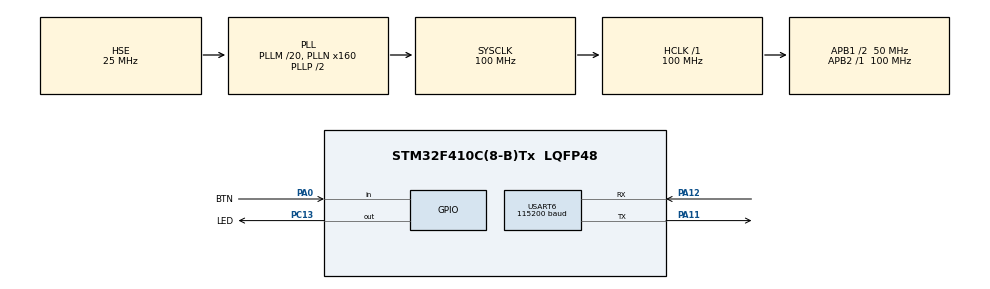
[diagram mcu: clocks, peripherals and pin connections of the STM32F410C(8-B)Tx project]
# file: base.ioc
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Dma.Request0=USART6_TX
Dma.USART6_TX.0.Direction=DMA_MEMORY_TO_PERIPH
Dma.USART6_TX.0.FIFOMode=DMA_FIFOMODE_DISABLE
Dma.USART6_TX.0.Instance=DMA2_Stream6
Dma.USART6_TX.0.MemDataAlignment=DMA_MDATAALIGN_BYTE
Dma.USART6_TX.0.MemInc=DMA_MINC_ENABLE
Dma.USART6_TX.0.Mode=DMA_NORMAL
Dma.USART6_TX.0.PeriphDataAlignment=DMA_PDATAALIGN_BYTE
Dma.USART6_TX.0.PeriphInc=DMA_PINC_DISABLE
Dma.USART6_TX.0.Priority=DMA_PRIORITY_LOW
Mcu.Family=STM32F4
Mcu.Name=STM32F410C(8-B)Tx
Mcu.Package=LQFP48
NVIC.DMA2_Stream6_IRQn=true\:1\:0\:true\:false\:true\:false\:true\:true
NVIC.PriorityGroup=NVIC_PRIORITYGROUP_4
NVIC.TIM1_TRG_COM_TIM11_IRQn=true\:0\:0\:false\:false\:true\:true\:true\:true
NVIC.USART6_IRQn=true\:1\:0\:true\:false\:true\:true\:true\:true
PA0-WKUP.GPIO_Label=BTN
PA0-WKUP.Signal=GPIO_Input
PA11.Mode=Asynchronous
PA11.Signal=USART6_TX
PA12.Mode=Asynchronous
PA12.Signal=USART6_RX
PA13.Mode=Serial_Wire
PA13.Signal=SYS_JTMS-SWDIO
PA14.Mode=Serial_Wire
PA14.Signal=SYS_JTCK-SWCLK
PC13-ANTI_TAMP.GPIO_Label=LED
PC13-ANTI_TAMP.Signal=GPIO_Output
PH0\ -\ OSC_IN.Mode=HSE-External-Oscillator
PH0\ -\ OSC_IN.Signal=RCC_OSC_IN
PH1\ -\ OSC_OUT.Mode=HSE-External-Oscillator
PH1\ -\ OSC_OUT.Signal=RCC_OSC_OUT
ProjectManager.HeapSize=0x200
ProjectManager.StackSize=0x400
ProjectManager.TargetToolchain=STM32CubeIDE
RCC.48MHZClocksFreq_Value=50000000
RCC.AHBFreq_Value=100000000
RCC.APB1CLKDivider=RCC_HCLK_DIV2
RCC.APB1Freq_Value=50000000
RCC.APB1TimFreq_Value=100000000
RCC.APB2Freq_Value=100000000
RCC.APB2TimFreq_Value=100000000
RCC.CortexFreq_Value=100000000
RCC.FLatency=FLASH_LATENCY_3
RCC.HCLKFreq_Value=100000000
RCC.HSE_VALUE=25000000
RCC.HSI_VALUE=16000000
RCC.LSE_VALUE=32768
RCC.PLLM=20
RCC.PLLN=160
RCC.PLLSourceVirtual=RCC_PLLSOURCE_HSE
RCC.SYSCLKFreq_VALUE=100000000
RCC.SYSCLKSource=RCC_SYSCLKSOURCE_PLLCLK
RCC.VCOOutputFreq_Value=200000000
TIM11.Period=5000-1
TIM11.Prescaler=100-1
USART6.BaudRate=115200
USART6.Mode=MODE_TX_RX
USART6.OverSampling=UART_OVERSAMPLING_16
USART6.Parity=PARITY_NONE
USART6.StopBits=STOPBITS_1
USART6.VirtualMode=VM_ASYNC
USART6.WordLength=WORDLENGTH_8B
VP_TIM11_VS_ClockSourceINT.Mode=Enable_Timer
board=custom

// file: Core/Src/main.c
/* USER CODE BEGIN Header */
/**
  ******************************************************************************
  * @file           : main.c
  * @brief          : Main program body
  ******************************************************************************
  * @attention
  *
  * Copyright (c) 2023 STMicroelectronics.
  * All rights reserved.
  *
  * This software is licensed under terms that can be found in the LICENSE file
  * in the root directory of this software component.
  * If no LICENSE file comes with this software, it is provided AS-IS.
  *
  ******************************************************************************
  */
/* USER CODE END Header */
#include "main.h"
#include "dma.h"
#include "tim.h"
#include "usart.h"
#include "gpio.h"

/* USER CODE BEGIN Includes */
#include "elog.h"
#include "multi_button.h"
/* USER CODE END Includes */

/* USER CODE BEGIN PM */
static const char* TAG = "main";
/* USER CODE END PM */

/* USER CODE BEGIN PV */
struct Button btn;
/* USER CODE END PV */

void SystemClock_Config(void);
/* USER CODE BEGIN PFP */
static uint8_t button_read(uint8_t button_id) {
    switch (button_id) {
        case 0: // btn on board
            return HAL_GPIO_ReadPin(BTN_GPIO_Port, BTN_Pin);
        default:
            return 0;
    }
}

static void button_clicked_cb(void* btn) {
    elog_i(TAG, "button clicked");
}

static void button_long_pressed_cb(void* btn) {
    elog_i(TAG, "button long pressed");
}

static void button_double_clicked_cb(void* btn) {
    elog_i(TAG, "button double clicked");
}

static void button_pressed_cb(void* btn) {
    elog_i(TAG, "button pressed");
}
/* USER CODE END PFP */

int main(void)
{

  /* MCU Configuration--------------------------------------------------------*/

  /* Reset of all peripherals, Initializes the Flash interface and the Systick. */
  HAL_Init();

  /* Configure the system clock */
  SystemClock_Config();

  /* Initialize all configured peripherals */
  MX_GPIO_Init();
  MX_DMA_Init();
  MX_USART6_UART_Init();
  MX_TIM11_Init();
  /* USER CODE BEGIN 2 */
    // init easy logger
    elog_init();
    elog_set_text_color_enabled(false);
//    elog_set_text_color_enabled(true);
    elog_set_fmt(ELOG_LVL_ASSERT, ELOG_FMT_LVL | ELOG_FMT_TAG | ELOG_FMT_TIME);
    elog_set_fmt(ELOG_LVL_ERROR, ELOG_FMT_LVL | ELOG_FMT_TAG | ELOG_FMT_TIME);
    elog_set_fmt(ELOG_LVL_WARN, ELOG_FMT_LVL | ELOG_FMT_TAG | ELOG_FMT_TIME);
    elog_set_fmt(ELOG_LVL_INFO, ELOG_FMT_LVL | ELOG_FMT_TAG | ELOG_FMT_TIME);
    elog_set_fmt(ELOG_LVL_DEBUG, ELOG_FMT_LVL | ELOG_FMT_TAG | ELOG_FMT_TIME);
    elog_set_fmt(ELOG_LVL_VERBOSE, ELOG_FMT_LVL | ELOG_FMT_TAG | ELOG_FMT_TIME);
    elog_start();
    elog_i(TAG,"HelloWorld!");

    // start 5ms timer to read button
    HAL_TIM_Base_Start_IT(&htim11);
    button_init(&btn, button_read, 0, 0);
    button_attach(&btn, PRESS_DOWN, button_pressed_cb);
    button_attach(&btn, PRESS_UP, button_clicked_cb);
    button_attach(&btn, LONG_PRESS_START, button_long_pressed_cb);
    button_attach(&btn, DOUBLE_CLICK, button_double_clicked_cb);
    button_start(&btn);
  /* USER CODE END 2 */

  /* Infinite loop */
  /* USER CODE BEGIN WHILE */
  while (1)
  {
      HAL_GPIO_TogglePin(LED_GPIO_Port, LED_Pin);
      HAL_Delay(1000);
//      elog_i(TAG, "HelloWorld!")
    /* USER CODE END WHILE */

  }
}

void SystemClock_Config(void)
{
  RCC_OscInitTypeDef RCC_OscInitStruct = {0};
  RCC_ClkInitTypeDef RCC_ClkInitStruct = {0};

  /** Configure the main internal regulator output voltage
  */
  __HAL_RCC_PWR_CLK_ENABLE();
  __HAL_PWR_VOLTAGESCALING_CONFIG(PWR_REGULATOR_VOLTAGE_SCALE1);

  /** Initializes the RCC Oscillators according to the specified parameters
  * in the RCC_OscInitTypeDef structure.
  */
  RCC_OscInitStruct.OscillatorType = RCC_OSCILLATORTYPE_HSE;
  RCC_OscInitStruct.HSEState = RCC_HSE_ON;
  RCC_OscInitStruct.PLL.PLLState = RCC_PLL_ON;
  RCC_OscInitStruct.PLL.PLLSource = RCC_PLLSOURCE_HSE;
  RCC_OscInitStruct.PLL.PLLM = 20;
  RCC_OscInitStruct.PLL.PLLN = 160;
  RCC_OscInitStruct.PLL.PLLP = RCC_PLLP_DIV2;
  RCC_OscInitStruct.PLL.PLLQ = 4;
  RCC_OscInitStruct.PLL.PLLR = 2;
  if (HAL_RCC_OscConfig(&RCC_OscInitStruct) != HAL_OK)
  {
    Error_Handler();
  }

  /** Initializes the CPU, AHB and APB buses clocks
  */
  RCC_ClkInitStruct.ClockType = RCC_CLOCKTYPE_HCLK|RCC_CLOCKTYPE_SYSCLK
                              |RCC_CLOCKTYPE_PCLK1|RCC_CLOCKTYPE_PCLK2;
  RCC_ClkInitStruct.SYSCLKSource = RCC_SYSCLKSOURCE_PLLCLK;
  RCC_ClkInitStruct.AHBCLKDivider = RCC_SYSCLK_DIV1;
  RCC_ClkInitStruct.APB1CLKDivider = RCC_HCLK_DIV2;
  RCC_ClkInitStruct.APB2CLKDivider = RCC_HCLK_DIV1;

  if (HAL_RCC_ClockConfig(&RCC_ClkInitStruct, FLASH_LATENCY_3) != HAL_OK)
  {
    Error_Handler();
  }
}

/* USER CODE BEGIN 4 */
void HAL_TIM_PeriodElapsedCallback(TIM_HandleTypeDef *htim)
{
    if(htim->Instance == TIM11) {   // it will be called every 5ms
        button_ticks();
    }
}

void HAL_UART_TxCpltCallback(UART_HandleTypeDef *huart) {
    if (huart->Instance == USART6) {    // it will be called after log dma tx complete
        extern void elog_dma_tx_cplt_callback();
        elog_dma_tx_cplt_callback();
    }
}
/* USER CODE END 4 */

void Error_Handler(void)
{
  __disable_irq();
  while (1)
  {
  }
}
